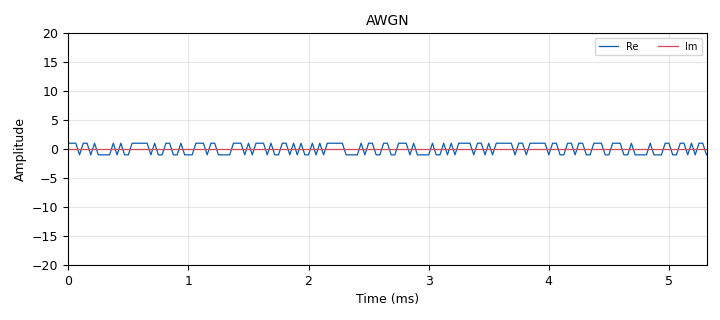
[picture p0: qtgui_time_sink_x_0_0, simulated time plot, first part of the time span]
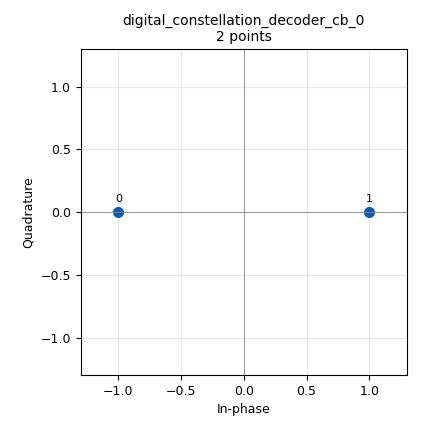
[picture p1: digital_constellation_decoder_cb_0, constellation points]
options:
  parameters:
    category: Custom
    generate_options: qt_gui
    id: bpsk_stage1
    output_language: python
    title: bpsk_stage1
  states: {}

blocks:
- name: N
  id: variable
  parameters:
    value: '128'
  states: {}
- name: bpsk
  id: variable_constellation
  parameters:
    precision: '8'
    type: bpsk
  states: {}
- name: samp_rate
  id: variable
  parameters:
    value: '32000'
  states: {}
- name: ErTools_AWGN_kanal_0
  id: ErTools_AWGN_kanal
  parameters:
    EbN0max: '20'
    EbN0min: '0'
    N: N
    R: '1'
    W: '1'
  states: {}
- name: ErTools_BER_0
  id: ErTools_BER
  parameters:
    N: N
  states: {}
- name: analog_random_source_x_0
  id: analog_random_source_x
  parameters:
    max: '2'
    min: '0'
    num_samps: '1000000'
    repeat: 'True'
    type: byte
  states: {}
- name: blocks_add_xx_0
  id: blocks_add_xx
  parameters:
    type: complex
  states: {}
- name: blocks_nlog10_ff_0
  id: blocks_nlog10_ff
  parameters:
    k: '0'
  states: {}
- name: blocks_stream_to_vector_0
  id: blocks_stream_to_vector
  parameters:
    num_items: N
    type: float
  states: {}
- name: blocks_throttle2_0
  id: blocks_throttle2
  parameters:
    samples_per_second: samp_rate
    type: complex
  states: {}
- name: digital_chunks_to_symbols_xx_0
  id: digital_chunks_to_symbols_xx
  parameters:
    dimension: '1'
    in_type: byte
    out_type: complex
    symbol_table: '-1,1'
  states: {state: disabled}
- name: digital_constellation_decoder_cb_0
  id: digital_constellation_decoder_cb
  parameters:
    constellation: bpsk
  states: {}
- name: digital_constellation_encoder_bc_0
  id: digital_constellation_encoder_bc
  parameters:
    constellation: bpsk
  states: {}
- name: qtgui_number_sink_0
  id: qtgui_number_sink
  parameters:
    graph_type: qtgui.NUM_GRAPH_HORIZ
    type: float
  states: {}
- name: qtgui_number_sink_0_0
  id: qtgui_number_sink
  parameters:
    graph_type: qtgui.NUM_GRAPH_HORIZ
    type: float
  states: {}
- name: qtgui_time_sink_x_0
  id: qtgui_time_sink_x
  parameters:
    label1: Re
    label2: Im
    name: '"AWGN"'
    size: '1024'
    srate: samp_rate
    type: complex
    ymax: '20'
    ymin: '-20'
  states: {}
- name: qtgui_time_sink_x_0_0
  id: qtgui_time_sink_x
  parameters:
    label1: Re
    label2: Im
    name: '"AWGN"'
    size: '1024'
    srate: samp_rate
    type: complex
    ymax: '20'
    ymin: '-20'
  states: {}
- name: qtgui_time_sink_x_1
  id: qtgui_time_sink_x
  parameters:
    name: '"logPe"'
    size: '1024'
    srate: samp_rate
    type: float
    ymin: '-30'
    yunit: '"log"'
  states: {state: disabled}
- name: qtgui_time_sink_x_1_0
  id: qtgui_time_sink_x
  parameters:
    name: '"logPe"'
    size: '1024'
    srate: samp_rate
    type: float
    ymax: '0.25'
    ymin: '0'
    yunit: '"log"'
  states: {state: disabled}
- name: qtgui_vector_sink_f_0_0
  id: qtgui_vector_sink_f
  parameters:
    alpha1: '1'
    average: '0.05'
    grid: 'True'
    gui_hint: 2,0,1,1
    label1: '"BPSK"'
    name: '"BER"'
    showports: 'True'
    vlen: N
    width1: '4'
    x_axis_label: '"Eb/N0 [dB]"'
    x_start: '-5'
    x_step: '0.078125'
    x_units: '"dB"'
    y_axis_label: '"logPe"'
    ymax: '0'
    ymin: '-10'
  states: {}
- name: virtual_sink_0
  id: virtual_sink
  parameters:
    stream_id: AWGN
  states: {}
- name: virtual_sink_0_0
  id: virtual_sink
  parameters:
    stream_id: SIGNAL
  states: {}
- name: virtual_sink_0_1
  id: virtual_sink
  parameters:
    stream_id: SAMP_POINT
  states: {}
- name: virtual_source_0
  id: virtual_source
  parameters:
    stream_id: AWGN
  states: {}
- name: virtual_source_0_0
  id: virtual_source
  parameters:
    stream_id: SIGNAL
  states: {}
- name: virtual_source_0_0_0
  id: virtual_source
  parameters:
    stream_id: SIGNAL
  states: {}
- name: virtual_source_0_0_1
  id: virtual_source
  parameters:
    stream_id: SAMP_POINT
  states: {}

connections:
- [ErTools_AWGN_kanal_0, '0', blocks_add_xx_0, '1']
- [ErTools_AWGN_kanal_0, '1', virtual_sink_0_1, '0']
- [ErTools_BER_0, '0', blocks_nlog10_ff_0, '0']
- [ErTools_BER_0, '0', qtgui_number_sink_0_0, '0']
- [ErTools_BER_0, '0', qtgui_time_sink_x_1_0, '0']
- [analog_random_source_x_0, '0', virtual_sink_0_0, '0']
- [blocks_add_xx_0, '0', digital_constellation_decoder_cb_0, '0']
- [blocks_add_xx_0, '0', qtgui_time_sink_x_0, '0']
- [blocks_nlog10_ff_0, '0', blocks_stream_to_vector_0, '0']
- [blocks_nlog10_ff_0, '0', qtgui_number_sink_0, '0']
- [blocks_nlog10_ff_0, '0', qtgui_time_sink_x_1, '0']
- [blocks_stream_to_vector_0, '0', qtgui_vector_sink_f_0_0, '0']
- [blocks_throttle2_0, '0', blocks_add_xx_0, '0']
- [digital_chunks_to_symbols_xx_0, '0', ErTools_AWGN_kanal_0, '0']
- [digital_chunks_to_symbols_xx_0, '0', blocks_throttle2_0, '0']
- [digital_constellation_decoder_cb_0, '0', virtual_sink_0, '0']
- [digital_constellation_encoder_bc_0, '0', ErTools_AWGN_kanal_0, '0']
- [digital_constellation_encoder_bc_0, '0', blocks_throttle2_0, '0']
- [digital_constellation_encoder_bc_0, '0', qtgui_time_sink_x_0_0, '0']
- [virtual_source_0, '0', ErTools_BER_0, '2']
- [virtual_source_0_0, '0', ErTools_BER_0, '1']
- [virtual_source_0_0_0, '0', digital_chunks_to_symbols_xx_0, '0']
- [virtual_source_0_0_0, '0', digital_constellation_encoder_bc_0, '0']
- [virtual_source_0_0_1, '0', ErTools_BER_0, '0']

metadata:
  file_format: 1
  grc_version: 3.10.9.2
